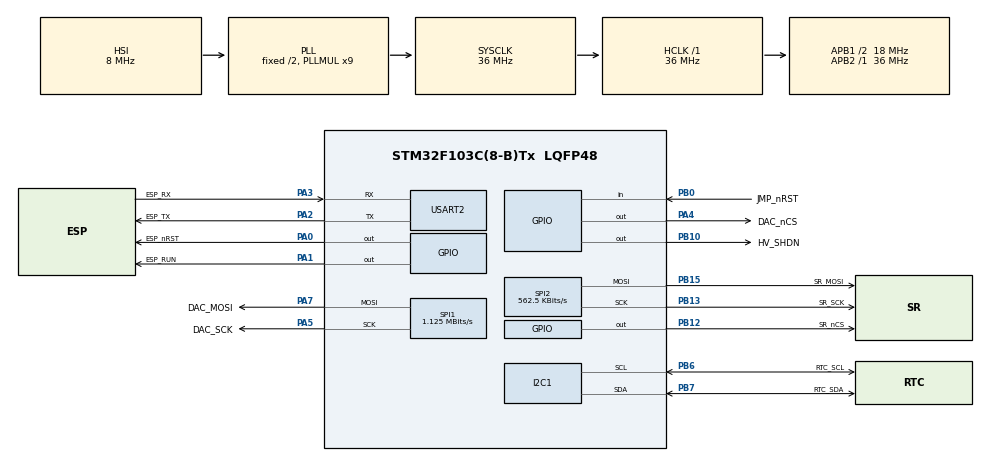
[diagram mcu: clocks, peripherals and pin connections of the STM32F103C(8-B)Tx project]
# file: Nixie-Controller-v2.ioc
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FREERTOS.Tasks01=taskDisplay,40,128,startTaskDisplay,Default,NULL,Dynamic,NULL,NULL;taskGetTime,24,128,startTaskGetTime,Default,NULL,Dynamic,NULL,NULL
Mcu.Family=STM32F1
Mcu.Name=STM32F103C(8-B)Tx
Mcu.Package=LQFP48
NVIC.PriorityGroup=NVIC_PRIORITYGROUP_4
NVIC.TIM1_UP_IRQn=true\:15\:0\:false\:false\:true\:false\:false\:true
NVIC.TimeBase=TIM1_UP_IRQn
NVIC.TimeBaseIP=TIM1
PA0-WKUP.GPIO_Label=ESP_nRST
PA0-WKUP.Signal=GPIO_Output
PA1.GPIO_Label=ESP_RUN
PA1.Signal=GPIO_Output
PA13.GPIO_Label=SYS_JTMS
PA13.Mode=JTAG_4_pins
PA13.Signal=SYS_JTMS-SWDIO
PA14.GPIO_Label=SYS_JTCK
PA14.Mode=JTAG_4_pins
PA14.Signal=SYS_JTCK-SWCLK
PA15.GPIO_Label=SYS_JTDI
PA15.Mode=JTAG_4_pins
PA15.Signal=SYS_JTDI
PA2.GPIO_Label=ESP_TX
PA2.Mode=Asynchronous
PA2.Signal=USART2_TX
PA3.GPIO_Label=ESP_RX
PA3.Mode=Asynchronous
PA3.Signal=USART2_RX
PA4.GPIO_Label=DAC_nCS
PA4.Signal=GPIO_Output
PA5.GPIO_Label=DAC_SCK
PA5.Mode=TX_Only_Simplex_Unidirect_Master
PA5.Signal=SPI1_SCK
PA7.GPIO_Label=DAC_MOSI
PA7.Mode=TX_Only_Simplex_Unidirect_Master
PA7.Signal=SPI1_MOSI
PB0.GPIO_Label=JMP_nRST
PB0.GPIO_PuPd=GPIO_PULLUP
PB0.Signal=GPIO_Input
PB10.GPIO_Label=HV_SHDN
PB10.Signal=GPIO_Output
PB12.GPIO_Label=SR_nCS
PB12.Signal=GPIO_Output
PB13.GPIO_Label=SR_SCK
PB13.Mode=TX_Only_Simplex_Unidirect_Master
PB13.Signal=SPI2_SCK
PB15.GPIO_Label=SR_MOSI
PB15.Mode=TX_Only_Simplex_Unidirect_Master
PB15.Signal=SPI2_MOSI
PB3.GPIO_Label=SYS_JTDO
PB3.Mode=JTAG_4_pins
PB3.Signal=SYS_JTDO-TRACESWO
PB6.GPIO_Label=RTC_SCL
PB6.Mode=I2C
PB6.Signal=I2C1_SCL
PB7.GPIO_Label=RTC_SDA
PB7.Mode=I2C
PB7.Signal=I2C1_SDA
ProjectManager.HeapSize=0x200
ProjectManager.StackSize=0x400
ProjectManager.TargetToolchain=Makefile
RCC.AHBFreq_Value=36000000
RCC.APB1CLKDivider=RCC_HCLK_DIV2
RCC.APB1Freq_Value=18000000
RCC.APB1TimFreq_Value=36000000
RCC.APB2Freq_Value=36000000
RCC.APB2TimFreq_Value=36000000
RCC.HCLKFreq_Value=36000000
RCC.HSEDivPLL=RCC_HSE_PREDIV_DIV2
RCC.HSE_VALUE=16000000
RCC.PLLMUL=RCC_PLL_MUL9
RCC.SYSCLKFreq_VALUE=36000000
RCC.SYSCLKSource=RCC_SYSCLKSOURCE_PLLCLK
RCC.USBFreq_Value=36000000
SPI1.BaudRatePrescaler=SPI_BAUDRATEPRESCALER_32
SPI1.CalculateBaudRate=1.125 MBits/s
SPI1.Direction=SPI_DIRECTION_2LINES
SPI1.Mode=SPI_MODE_MASTER
SPI1.VirtualType=VM_MASTER
SPI2.BaudRatePrescaler=SPI_BAUDRATEPRESCALER_32
SPI2.CalculateBaudRate=562.5 KBits/s
SPI2.Direction=SPI_DIRECTION_2LINES
SPI2.Mode=SPI_MODE_MASTER
SPI2.VirtualType=VM_MASTER
USART2.VirtualMode=VM_ASYNC
VP_FREERTOS_VS_CMSIS_V2.Mode=CMSIS_V2
VP_SYS_VS_tim1.Mode=TIM1
board=custom

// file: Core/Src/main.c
/* USER CODE BEGIN Header */
/**
 ******************************************************************************
 * @file           : main.c
 * @brief          : Main program body
 ******************************************************************************
 * @attention
 *
 * <h2><center>&copy; Copyright (c) 2021 STMicroelectronics.
 * All rights reserved.</center></h2>
 *
 * This software component is licensed by ST under BSD 3-Clause license,
 * the "License"; You may not use this file except in compliance with the
 * License. You may obtain a copy of the License at:
 *                        opensource.org/licenses/BSD-3-Clause
 *
 ******************************************************************************
 */
/* USER CODE END Header */
#include "main.h"
#include "cmsis_os2.h"

/* USER CODE BEGIN Includes */
#include <string.h>

#include "helper.h"

/* USER CODE END Includes */

I2C_HandleTypeDef hi2c1;

SPI_HandleTypeDef hspi1;
SPI_HandleTypeDef hspi2;

UART_HandleTypeDef huart2;

/* Definitions for taskDisplay */
osThreadId_t taskDisplayHandle;
const osThreadAttr_t taskDisplay_attributes = {
    .name = "taskDisplay",
    .stack_size = 128 * 4,
    .priority = (osPriority_t)osPriorityHigh,
};
/* Definitions for taskGetTime */
osThreadId_t taskGetTimeHandle;
const osThreadAttr_t taskGetTime_attributes = {
    .name = "taskGetTime",
    .stack_size = 128 * 4,
    .priority = (osPriority_t)osPriorityNormal,
};
/* USER CODE BEGIN PV */

// SET THIS BEFORE FLASHING
const char WIFI_SSID[] = "";

// SET THIS BEFORE FLASHING
const char WIFI_PASSWORD[] = "";

// SET THIS BEFORE FLASHING
// See http://worldtimeapi.org/timezones for full list of timezones
const char TIMEZONE[] = "";

// SET THIS BEFORE FLASHING
// 0mA -> 0, 10.6mA -> 255, linear
const uint8_t TUBE_CURRENT = 0;

const char API_URL[] = "http://worldtimeapi.org/api/timezone/";
char TIME_API[sizeof(API_URL) + sizeof(TIMEZONE) - 1 + 4];

DateTime currentTime;

/* USER CODE END PV */

void SystemClock_Config(void);
static void MX_GPIO_Init(void);
static void MX_SPI1_Init(void);
static void MX_I2C1_Init(void);
static void MX_SPI2_Init(void);
static void MX_USART2_UART_Init(void);
void startTaskDisplay(void *argument);
void startTaskGetTime(void *argument);

int main(void)
{
    /* USER CODE BEGIN 1 */

    // Format API URL string
    memset(TIME_API, 0, sizeof(TIME_API));
    strcpy(TIME_API, API_URL);
    strcat(TIME_API, TIMEZONE);
    strcat(TIME_API, ".txt");

    /* USER CODE END 1 */

    /* MCU Configuration--------------------------------------------------------*/

    /* Reset of all peripherals, Initializes the Flash interface and the Systick. */
    HAL_Init();

    /* Configure the system clock */
    SystemClock_Config();

    /* Initialize all configured peripherals */
    MX_GPIO_Init();
    MX_SPI1_Init();
    MX_I2C1_Init();
    MX_SPI2_Init();
    MX_USART2_UART_Init();
    /* USER CODE BEGIN 2 */

    // Power on setup
    HAL_GPIO_WritePin(HV_SHDN_GPIO_Port, HV_SHDN_Pin, 0);
    DAC_init(&DAC_SPI, DAC_nCS_GPIO_Port, DAC_nCS_Pin);
    DAC_setAll(&DAC_SPI, DAC_nCS_GPIO_Port, DAC_nCS_Pin, TUBE_CURRENT);
    SR_clearDigits(&SR_SPI, SR_nCS_GPIO_Port, SR_nCS_Pin);
    HAL_GPIO_WritePin(ESP_RUN_GPIO_Port, ESP_RUN_Pin, 1);

    // Reset WiFi module
    HAL_GPIO_WritePin(ESP_nRST_GPIO_Port, ESP_nRST_Pin, 0);
    HAL_Delay(100);
    HAL_GPIO_WritePin(ESP_nRST_GPIO_Port, ESP_nRST_Pin, 1);

    // Cycle all digits while waiting for WiFi module startup
    for (int i = 0; i < 10; i++)
    {
        uint8_t digits[] = {i, i, i, i, i, i};
        SR_setDigits(&SR_SPI, SR_nCS_GPIO_Port, SR_nCS_Pin, digits);
        HAL_Delay(1000);
    }

    // Check factory reset jumper
    if (HAL_GPIO_ReadPin(JMP_nRST_GPIO_Port, JMP_nRST_Pin) == 0)
    {
        // Display all zeros
        uint8_t digits[] = {0, 0, 0, 0, 0, 0};
        SR_setDigits(&SR_SPI, SR_nCS_GPIO_Port, SR_nCS_Pin, digits);

        // Restore WiFi module default
        if (HAL_UART_Transmit(&ESP_UART, (uint8_t *)"AT+RESTORE\r\n", 12, 1000) != HAL_OK) Error_Handler();
        HAL_Delay(10000);

        // Station mode
        if (HAL_UART_Transmit(&ESP_UART, (uint8_t *)"AT+CWMODE=1\r\n", 13, 1000) != HAL_OK) Error_Handler();
        HAL_Delay(1000);

        // Connect to WiFi
        // AT+CWJAP="{WIFI_SSID}","{WIFI_PASSWORD}"
        if (HAL_UART_Transmit(&ESP_UART, (uint8_t *)"AT+CWJAP=\"", 10, 1000) != HAL_OK) Error_Handler();
        if (HAL_UART_Transmit(&ESP_UART, (uint8_t *)WIFI_SSID, sizeof(WIFI_SSID) - 1, 1000) != HAL_OK) Error_Handler();
        if (HAL_UART_Transmit(&ESP_UART, (uint8_t *)"\",\"", 3, 1000) != HAL_OK) Error_Handler();
        if (HAL_UART_Transmit(&ESP_UART, (uint8_t *)WIFI_PASSWORD, sizeof(WIFI_PASSWORD) - 1, 1000) != HAL_OK) Error_Handler();
        if (HAL_UART_Transmit(&ESP_UART, (uint8_t *)"\"\r\n", 3, 1000) != HAL_OK) Error_Handler();
        HAL_Delay(10000);

        // Reconnect on startup
        if (HAL_UART_Transmit(&ESP_UART, (uint8_t *)"AT+CWAUTOCONN=1\r\n", 15, 1000) != HAL_OK) Error_Handler();
        HAL_Delay(1000);
    }

    // Disable echo
    if (HAL_UART_Transmit(&ESP_UART, (uint8_t *)"ATE0\r\n", 6, 1000) != HAL_OK) Error_Handler();
    HAL_Delay(1000);

    // Load internet time to RTC & currentTime
    if (getInternetTime(&ESP_UART, &currentTime, TIME_API, sizeof(TIME_API)) == 0)
    {
        RTC_setTime(&RTC_I2C, &currentTime);
    }
    RTC_getTime(&RTC_I2C, &currentTime);

    /* USER CODE END 2 */

    /* Init scheduler */
    osKernelInitialize();

    /* Create the thread(s) */
    /* creation of taskDisplay */
    taskDisplayHandle = osThreadNew(startTaskDisplay, NULL, &taskDisplay_attributes);

    /* creation of taskGetTime */
    taskGetTimeHandle = osThreadNew(startTaskGetTime, NULL, &taskGetTime_attributes);

    /* Start scheduler */
    osKernelStart();

    /* We should never get here as control is now taken by the scheduler */
    /* Infinite loop */
    while (1)
    {

    }
}

void SystemClock_Config(void)
{
    RCC_OscInitTypeDef RCC_OscInitStruct = {0};
    RCC_ClkInitTypeDef RCC_ClkInitStruct = {0};

    /** Initializes the RCC Oscillators according to the specified parameters
     * in the RCC_OscInitTypeDef structure.
     */
    RCC_OscInitStruct.OscillatorType = RCC_OSCILLATORTYPE_HSI;
    RCC_OscInitStruct.HSIState = RCC_HSI_ON;
    RCC_OscInitStruct.HSICalibrationValue = RCC_HSICALIBRATION_DEFAULT;
    RCC_OscInitStruct.PLL.PLLState = RCC_PLL_ON;
    RCC_OscInitStruct.PLL.PLLSource = RCC_PLLSOURCE_HSI_DIV2;
    RCC_OscInitStruct.PLL.PLLMUL = RCC_PLL_MUL9;
    if (HAL_RCC_OscConfig(&RCC_OscInitStruct) != HAL_OK)
    {
        Error_Handler();
    }
    /** Initializes the CPU, AHB and APB buses clocks
     */
    RCC_ClkInitStruct.ClockType = RCC_CLOCKTYPE_HCLK | RCC_CLOCKTYPE_SYSCLK | RCC_CLOCKTYPE_PCLK1 | RCC_CLOCKTYPE_PCLK2;
    RCC_ClkInitStruct.SYSCLKSource = RCC_SYSCLKSOURCE_PLLCLK;
    RCC_ClkInitStruct.AHBCLKDivider = RCC_SYSCLK_DIV1;
    RCC_ClkInitStruct.APB1CLKDivider = RCC_HCLK_DIV2;
    RCC_ClkInitStruct.APB2CLKDivider = RCC_HCLK_DIV1;

    if (HAL_RCC_ClockConfig(&RCC_ClkInitStruct, FLASH_LATENCY_1) != HAL_OK)
    {
        Error_Handler();
    }
}

static void MX_I2C1_Init(void)
{

    hi2c1.Instance = I2C1;
    hi2c1.Init.ClockSpeed = 100000;
    hi2c1.Init.DutyCycle = I2C_DUTYCYCLE_2;
    hi2c1.Init.OwnAddress1 = 0;
    hi2c1.Init.AddressingMode = I2C_ADDRESSINGMODE_7BIT;
    hi2c1.Init.DualAddressMode = I2C_DUALADDRESS_DISABLE;
    hi2c1.Init.OwnAddress2 = 0;
    hi2c1.Init.GeneralCallMode = I2C_GENERALCALL_DISABLE;
    hi2c1.Init.NoStretchMode = I2C_NOSTRETCH_DISABLE;
    if (HAL_I2C_Init(&hi2c1) != HAL_OK)
    {
        Error_Handler();
    }
}

static void MX_SPI1_Init(void)
{

    /* SPI1 parameter configuration*/
    hspi1.Instance = SPI1;
    hspi1.Init.Mode = SPI_MODE_MASTER;
    hspi1.Init.Direction = SPI_DIRECTION_2LINES;
    hspi1.Init.DataSize = SPI_DATASIZE_8BIT;
    hspi1.Init.CLKPolarity = SPI_POLARITY_LOW;
    hspi1.Init.CLKPhase = SPI_PHASE_1EDGE;
    hspi1.Init.NSS = SPI_NSS_SOFT;
    hspi1.Init.BaudRatePrescaler = SPI_BAUDRATEPRESCALER_32;
    hspi1.Init.FirstBit = SPI_FIRSTBIT_MSB;
    hspi1.Init.TIMode = SPI_TIMODE_DISABLE;
    hspi1.Init.CRCCalculation = SPI_CRCCALCULATION_DISABLE;
    hspi1.Init.CRCPolynomial = 10;
    if (HAL_SPI_Init(&hspi1) != HAL_OK)
    {
        Error_Handler();
    }
}

static void MX_SPI2_Init(void)
{

    /* SPI2 parameter configuration*/
    hspi2.Instance = SPI2;
    hspi2.Init.Mode = SPI_MODE_MASTER;
    hspi2.Init.Direction = SPI_DIRECTION_2LINES;
    hspi2.Init.DataSize = SPI_DATASIZE_8BIT;
    hspi2.Init.CLKPolarity = SPI_POLARITY_LOW;
    hspi2.Init.CLKPhase = SPI_PHASE_1EDGE;
    hspi2.Init.NSS = SPI_NSS_SOFT;
    hspi2.Init.BaudRatePrescaler = SPI_BAUDRATEPRESCALER_32;
    hspi2.Init.FirstBit = SPI_FIRSTBIT_MSB;
    hspi2.Init.TIMode = SPI_TIMODE_DISABLE;
    hspi2.Init.CRCCalculation = SPI_CRCCALCULATION_DISABLE;
    hspi2.Init.CRCPolynomial = 10;
    if (HAL_SPI_Init(&hspi2) != HAL_OK)
    {
        Error_Handler();
    }
}

static void MX_USART2_UART_Init(void)
{

    huart2.Instance = USART2;
    huart2.Init.BaudRate = 115200;
    huart2.Init.WordLength = UART_WORDLENGTH_8B;
    huart2.Init.StopBits = UART_STOPBITS_1;
    huart2.Init.Parity = UART_PARITY_NONE;
    huart2.Init.Mode = UART_MODE_TX_RX;
    huart2.Init.HwFlowCtl = UART_HWCONTROL_NONE;
    huart2.Init.OverSampling = UART_OVERSAMPLING_16;
    if (HAL_UART_Init(&huart2) != HAL_OK)
    {
        Error_Handler();
    }
}

static void MX_GPIO_Init(void)
{
    GPIO_InitTypeDef GPIO_InitStruct = {0};

    /* GPIO Ports Clock Enable */
    __HAL_RCC_GPIOA_CLK_ENABLE();
    __HAL_RCC_GPIOB_CLK_ENABLE();

    /*Configure GPIO pin Output Level */
    HAL_GPIO_WritePin(GPIOA, ESP_nRST_Pin | ESP_RUN_Pin | DAC_nCS_Pin, GPIO_PIN_RESET);

    /*Configure GPIO pin Output Level */
    HAL_GPIO_WritePin(GPIOB, HV_SHDN_Pin | SR_nCS_Pin, GPIO_PIN_RESET);

    /*Configure GPIO pins : ESP_nRST_Pin ESP_RUN_Pin DAC_nCS_Pin */
    GPIO_InitStruct.Pin = ESP_nRST_Pin | ESP_RUN_Pin | DAC_nCS_Pin;
    GPIO_InitStruct.Mode = GPIO_MODE_OUTPUT_PP;
    GPIO_InitStruct.Pull = GPIO_NOPULL;
    GPIO_InitStruct.Speed = GPIO_SPEED_FREQ_LOW;
    HAL_GPIO_Init(GPIOA, &GPIO_InitStruct);

    /*Configure GPIO pin : JMP_nRST_Pin */
    GPIO_InitStruct.Pin = JMP_nRST_Pin;
    GPIO_InitStruct.Mode = GPIO_MODE_INPUT;
    GPIO_InitStruct.Pull = GPIO_PULLUP;
    HAL_GPIO_Init(JMP_nRST_GPIO_Port, &GPIO_InitStruct);

    /*Configure GPIO pins : HV_SHDN_Pin SR_nCS_Pin */
    GPIO_InitStruct.Pin = HV_SHDN_Pin | SR_nCS_Pin;
    GPIO_InitStruct.Mode = GPIO_MODE_OUTPUT_PP;
    GPIO_InitStruct.Pull = GPIO_NOPULL;
    GPIO_InitStruct.Speed = GPIO_SPEED_FREQ_LOW;
    HAL_GPIO_Init(GPIOB, &GPIO_InitStruct);
}

void startTaskDisplay(void *argument)
{
    /* USER CODE BEGIN 5 */
    DateTime pastTime = currentTime;
    /* Infinite loop */
    for (;;)
    {
        if (currentTime.second != pastTime.second)
        {
            pastTime = currentTime;

            uint8_t digits[6];
            for (int i = 0; i < 10; i++)
            {
                digits[0] = i;
                digits[1] = i;
                digits[2] = i;
                digits[3] = i;
                digits[4] = i;
                digits[5] = i;
                SR_setDigits(&SR_SPI, SR_nCS_GPIO_Port, SR_nCS_Pin, digits);
                osDelay(5);
            }

            digits[0] = currentTime.second % 10;
            digits[1] = currentTime.second / 10;
            digits[2] = currentTime.minute % 10;
            digits[3] = currentTime.minute / 10;
            digits[4] = currentTime.hour % 10;
            digits[5] = currentTime.hour / 10;
            SR_setDigits(&SR_SPI, SR_nCS_GPIO_Port, SR_nCS_Pin, digits);
        }
        else
        {
            osDelay(100);
        }
    }
    /* USER CODE END 5 */
}

void startTaskGetTime(void *argument)
{
    /* USER CODE BEGIN startTaskGetTime */
    /* Infinite loop */
    for (;;)
    {
        // Get time from RTC
        RTC_getTime(&RTC_I2C, &currentTime);

        // Attempt to get internet time every day
        if (currentTime.hour == 0)
        {
            DateTime dateTime;
            if (getInternetTime(&ESP_UART, &dateTime, TIME_API, sizeof(TIME_API)) == 0)
            {
                RTC_setTime(&RTC_I2C, &dateTime);
            }
        }
        osDelay(100);
    }
    /* USER CODE END startTaskGetTime */
}

void HAL_TIM_PeriodElapsedCallback(TIM_HandleTypeDef *htim)
{
    if (htim->Instance == TIM1)
    {
        HAL_IncTick();
    }
}

void Error_Handler(void)
{
    __disable_irq();
    while (1)
    {
    }
}

/************************ (C) COPYRIGHT STMicroelectronics *****END OF FILE****/
